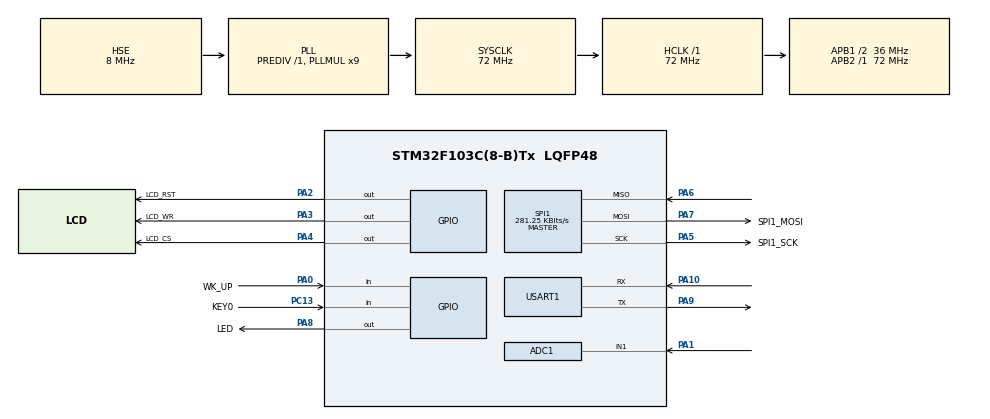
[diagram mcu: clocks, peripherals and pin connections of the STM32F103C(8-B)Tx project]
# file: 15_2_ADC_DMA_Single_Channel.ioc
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ADC1.Channel-0\#ChannelRegularConversion=ADC_CHANNEL_1
ADC1.ContinuousConvMode=ENABLE
ADC1.NbrOfConversionFlag=1
ADC1.Rank-0\#ChannelRegularConversion=1
ADC1.SamplingTime-0\#ChannelRegularConversion=ADC_SAMPLETIME_239CYCLES_5
ADC1.master=1
Dma.ADC1.0.Direction=DMA_PERIPH_TO_MEMORY
Dma.ADC1.0.Instance=DMA1_Channel1
Dma.ADC1.0.MemDataAlignment=DMA_MDATAALIGN_HALFWORD
Dma.ADC1.0.MemInc=DMA_MINC_ENABLE
Dma.ADC1.0.Mode=DMA_NORMAL
Dma.ADC1.0.PeriphDataAlignment=DMA_PDATAALIGN_HALFWORD
Dma.ADC1.0.PeriphInc=DMA_PINC_DISABLE
Dma.ADC1.0.Priority=DMA_PRIORITY_MEDIUM
Dma.Request0=ADC1
Mcu.Family=STM32F1
Mcu.Name=STM32F103C(8-B)Tx
Mcu.Package=LQFP48
NVIC.DMA1_Channel1_IRQn=true\:2\:1\:true\:false\:true\:false\:true\:true
NVIC.PriorityGroup=NVIC_PRIORITYGROUP_2
NVIC.USART1_IRQn=true\:2\:2\:true\:false\:true\:true\:true\:true
PA0-WKUP.GPIO_Label=WK_UP
PA0-WKUP.GPIO_PuPd=GPIO_PULLDOWN
PA0-WKUP.Signal=GPIO_Input
PA1.Signal=ADCx_IN1
PA10.Mode=Asynchronous
PA10.Signal=USART1_RX
PA13.Mode=Serial_Wire
PA13.Signal=SYS_JTMS-SWDIO
PA14.Mode=Serial_Wire
PA14.Signal=SYS_JTCK-SWCLK
PA2.GPIO_Label=LCD_RST
PA2.GPIO_PuPd=GPIO_PULLUP
PA2.GPIO_Speed=GPIO_SPEED_FREQ_HIGH
PA2.PinState=GPIO_PIN_SET
PA2.Signal=GPIO_Output
PA3.GPIO_Label=LCD_WR
PA3.GPIO_PuPd=GPIO_PULLUP
PA3.GPIO_Speed=GPIO_SPEED_FREQ_HIGH
PA3.PinState=GPIO_PIN_SET
PA3.Signal=GPIO_Output
PA4.GPIO_Label=LCD_CS
PA4.GPIO_PuPd=GPIO_PULLUP
PA4.GPIO_Speed=GPIO_SPEED_FREQ_HIGH
PA4.PinState=GPIO_PIN_SET
PA4.Signal=GPIO_Output
PA5.GPIO_Label=SPI1_SCK
PA5.Mode=Full_Duplex_Master
PA5.Signal=SPI1_SCK
PA6.Mode=Full_Duplex_Master
PA6.Signal=SPI1_MISO
PA7.GPIO_Label=SPI1_MOSI
PA7.Mode=Full_Duplex_Master
PA7.Signal=SPI1_MOSI
PA8.GPIO_Label=LED
PA8.GPIO_PuPd=GPIO_PULLUP
PA8.GPIO_Speed=GPIO_SPEED_FREQ_HIGH
PA8.PinState=GPIO_PIN_SET
PA8.Signal=GPIO_Output
PA9.Mode=Asynchronous
PA9.Signal=USART1_TX
PC13-TAMPER-RTC.GPIO_Label=KEY0
PC13-TAMPER-RTC.GPIO_PuPd=GPIO_PULLUP
PC13-TAMPER-RTC.Signal=GPIO_Input
PC14-OSC32_IN.Mode=LSE-External-Oscillator
PC14-OSC32_IN.Signal=RCC_OSC32_IN
PC15-OSC32_OUT.Mode=LSE-External-Oscillator
PC15-OSC32_OUT.Signal=RCC_OSC32_OUT
PD0-OSC_IN.Mode=HSE-External-Oscillator
PD0-OSC_IN.Signal=RCC_OSC_IN
PD1-OSC_OUT.Mode=HSE-External-Oscillator
PD1-OSC_OUT.Signal=RCC_OSC_OUT
ProjectManager.HeapSize=0x200
ProjectManager.StackSize=0x400
ProjectManager.TargetToolchain=STM32CubeIDE
RCC.ADCPresc=RCC_ADCPCLK2_DIV6
RCC.AHBFreq_Value=72000000
RCC.APB1CLKDivider=RCC_HCLK_DIV2
RCC.APB1Freq_Value=36000000
RCC.APB1TimFreq_Value=72000000
RCC.APB2Freq_Value=72000000
RCC.APB2TimFreq_Value=72000000
RCC.HCLKFreq_Value=72000000
RCC.PLLMUL=RCC_PLL_MUL9
RCC.PLLSourceVirtual=RCC_PLLSOURCE_HSE
RCC.SYSCLKFreq_VALUE=72000000
RCC.SYSCLKSource=RCC_SYSCLKSOURCE_PLLCLK
RCC.USBFreq_Value=72000000
SH.ADCx_IN1.0=ADC1_IN1,IN1
SPI1.BaudRatePrescaler=SPI_BAUDRATEPRESCALER_256
SPI1.CLKPhase=SPI_PHASE_2EDGE
SPI1.CLKPolarity=SPI_POLARITY_HIGH
SPI1.CalculateBaudRate=281.25 KBits/s
SPI1.Direction=SPI_DIRECTION_2LINES
SPI1.Mode=SPI_MODE_MASTER
SPI1.VirtualType=VM_MASTER
USART1.VirtualMode=VM_ASYNC
board=custom

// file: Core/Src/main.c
/**
 ****************************************************************************************************
 * @file        main.c
 * @author      ALIENTEK
 * @brief       ADC_DMA_Single_Channel code
 * @license     Copyright (C) 2020-2032, ALIENTEK
 ****************************************************************************************************
 * @attention
 *
 * platform  	: ALIENTEK STM32F103 development board
 * website		: https://www.alientek.com
 * forum		: http://www.openedv.com/forum.php
 *
 * change logs	:
 * version		data		notes
 * V1.0			20240222	the first version
 *
 ****************************************************************************************************
 */

/* USER CODE BEGIN Header */

/* USER CODE END Header */
#include "main.h"
#include "adc.h"
#include "dma.h"
#include "spi.h"
#include "usart.h"
#include "gpio.h"

/* USER CODE BEGIN Includes */
#include "../../BSP/LED/led.h"
#include "../../BSP/KEY/key.h"
/* USER CODE END Includes */

void SystemClock_Config(void);
/* USER CODE BEGIN PFP */

#define ADC_DMA_BUF_SIZE 50                                 /* ADC DMA buffer size */
static uint16_t g_adc_dma_buf[ADC_DMA_BUF_SIZE];            /* ADC DMA buffer */
extern uint8_t g_adc_dma_sta;                               /* DMA transfer complete flag */

/* USER CODE END PFP */

/* USER CODE BEGIN 0 */

void stm32f103c8t6_show_mesg(void)
{
	/* The serial port outputs the experimental information */
	printf("\n");
	printf("********************************\r\n");
	printf("STM32F103\r\n");
	printf("ADC(DMA Read) Test\r\n");
	printf("ATOM@ALIENTEK\r\n");
	printf("********************************\r\n");
	printf("\r\n");
}

/* USER CODE END 0 */

int main(void)
{
  /* USER CODE BEGIN 1 */

    uint16_t i;
    uint32_t sum;
    uint16_t adcdata;
    uint16_t voltage;

  /* USER CODE END 1 */

  /* MCU Configuration--------------------------------------------------------*/

  /* Reset of all peripherals, Initializes the Flash interface and the Systick. */
  HAL_Init();

  /* Configure the system clock */
  SystemClock_Config();

  /* Initialize all configured peripherals */
  MX_GPIO_Init();
  MX_DMA_Init();
  MX_USART1_UART_Init();
  MX_SPI1_Init();
  MX_ADC1_Init();
  /* USER CODE BEGIN 2 */

  stm32f103c8t6_show_mesg();
  HAL_DMA_Start_IT(&hdma_adc1, (uint32_t)&ADC1->DR, (uint32_t)&g_adc_dma_buf, 0);	/* Start DMA and enable interrupt */
  HAL_ADC_Start_DMA(&hadc1, (uint32_t*)&g_adc_dma_buf, 0);           				/* Turn on the ADC and transmit the result via DMA */

  adc_dma_enable(ADC_DMA_BUF_SIZE);   /* Turn on the ADC and transmit the result by DMA */
  /* USER CODE END 2 */

  /* Infinite loop */
  /* USER CODE BEGIN WHILE */
  while (1)
  {
      if (g_adc_dma_sta == 1)
      {
          /* Calculate the average value of ADC data collected by DMA */
          sum = 0;

          for (i = 0; i < ADC_DMA_BUF_SIZE; i++)          /* Accumulation */
          {
              sum += g_adc_dma_buf[i];
          }

          adcdata = sum / ADC_DMA_BUF_SIZE;               /* Averaging */

          /* Displaying results */
          printf("original value:%d\r\n",adcdata);

          voltage = (adcdata * 3300) / 4096;              /* Get the calculated actual voltage value with decimal values, such as 3.1111 */
          printf("voltage:%d.%d\r\n",voltage / 1000,voltage % 1000);

          g_adc_dma_sta = 0;                              /* Clear the DMA collection completion status flag */
          adc_dma_enable(ADC_DMA_BUF_SIZE);               /* Start the next ADC DMA acquisition */
      }

	  LED_TOGGLE();       								  /* LED state is flipped */
	  HAL_Delay(100);
    /* USER CODE END WHILE */

  }
}

void SystemClock_Config(void)
{
  RCC_OscInitTypeDef RCC_OscInitStruct = {0};
  RCC_ClkInitTypeDef RCC_ClkInitStruct = {0};
  RCC_PeriphCLKInitTypeDef PeriphClkInit = {0};

  /** Initializes the RCC Oscillators according to the specified parameters
  * in the RCC_OscInitTypeDef structure.
  */
  RCC_OscInitStruct.OscillatorType = RCC_OSCILLATORTYPE_HSE;
  RCC_OscInitStruct.HSEState = RCC_HSE_ON;
  RCC_OscInitStruct.HSEPredivValue = RCC_HSE_PREDIV_DIV1;
  RCC_OscInitStruct.HSIState = RCC_HSI_ON;
  RCC_OscInitStruct.PLL.PLLState = RCC_PLL_ON;
  RCC_OscInitStruct.PLL.PLLSource = RCC_PLLSOURCE_HSE;
  RCC_OscInitStruct.PLL.PLLMUL = RCC_PLL_MUL9;
  if (HAL_RCC_OscConfig(&RCC_OscInitStruct) != HAL_OK)
  {
    Error_Handler();
  }

  /** Initializes the CPU, AHB and APB buses clocks
  */
  RCC_ClkInitStruct.ClockType = RCC_CLOCKTYPE_HCLK|RCC_CLOCKTYPE_SYSCLK
                              |RCC_CLOCKTYPE_PCLK1|RCC_CLOCKTYPE_PCLK2;
  RCC_ClkInitStruct.SYSCLKSource = RCC_SYSCLKSOURCE_PLLCLK;
  RCC_ClkInitStruct.AHBCLKDivider = RCC_SYSCLK_DIV1;
  RCC_ClkInitStruct.APB1CLKDivider = RCC_HCLK_DIV2;
  RCC_ClkInitStruct.APB2CLKDivider = RCC_HCLK_DIV1;

  if (HAL_RCC_ClockConfig(&RCC_ClkInitStruct, FLASH_LATENCY_2) != HAL_OK)
  {
    Error_Handler();
  }
  PeriphClkInit.PeriphClockSelection = RCC_PERIPHCLK_ADC;
  PeriphClkInit.AdcClockSelection = RCC_ADCPCLK2_DIV6;
  if (HAL_RCCEx_PeriphCLKConfig(&PeriphClkInit) != HAL_OK)
  {
    Error_Handler();
  }
}

void Error_Handler(void)
{
  __disable_irq();
  while (1)
  {
  }
}
